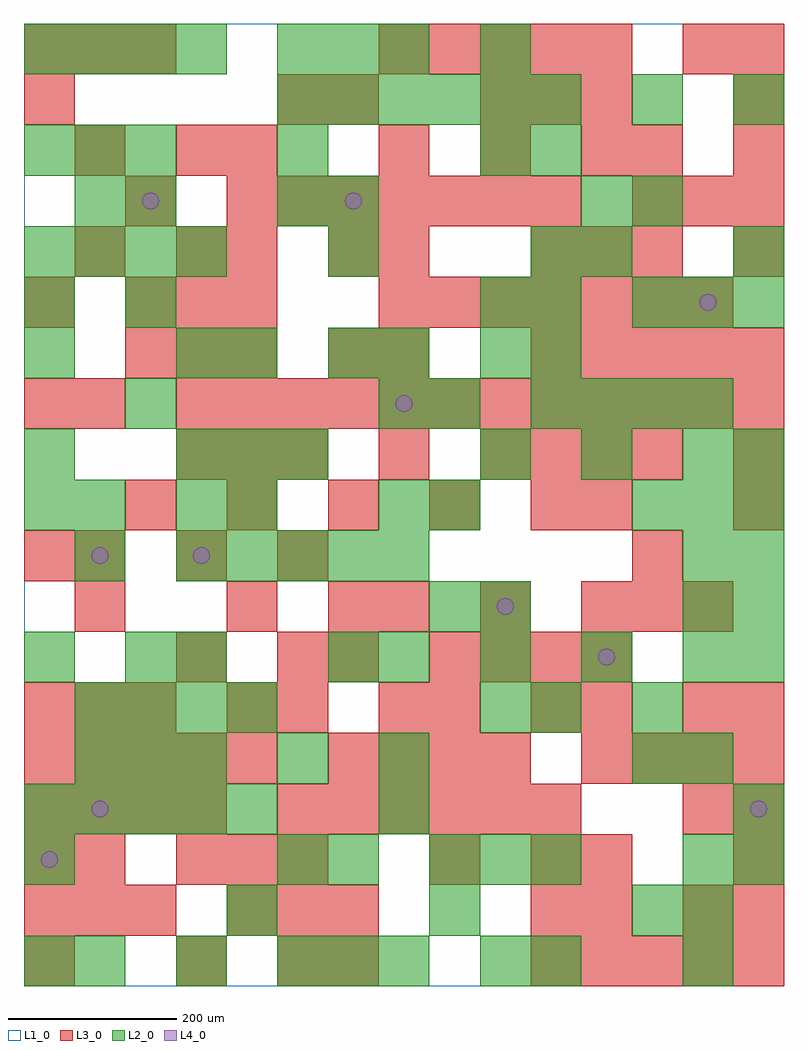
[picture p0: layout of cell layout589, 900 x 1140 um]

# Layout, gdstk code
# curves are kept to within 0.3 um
import gdstk
lib = gdstk.Library(unit=1e-6, precision=1e-09)
def R(c, l, rs):  # rectangles x0, y0, x1, y1
    for r in rs: c.add(gdstk.rectangle(r[:2], r[2:], *l))
def A(c, l, x, y, w, h, nx, ny, dx, dy):  # array of equal rectangles
    R(c, l, [(x+i*dx, y+j*dy, x+i*dx+w, y+j*dy+h) for i in range(nx) for j in range(ny)])
def P(c, l, *ps):  # polygons
    for p in ps: c.add(gdstk.Polygon(p, *l))
L1_0 = (1, 0)
L2_0 = (2, 0)
L3_0 = (3, 0)
L4_0 = (4, 0)

layout589 = lib.new_cell('layout589')
R(layout589, L1_0, [(0,0,900,1140)])
A(layout589, L2_0, 60, 0, 60, 60, 3, 1, 120, 0)
A(layout589, L2_0, 780, 0, 60, 60, 1, 3, 0, 60)
A(layout589, L2_0, 240, 60, 60, 60, 3, 1, 240, 0)
A(layout589, L2_0, 480, 120, 60, 60, 3, 1, 60, 0)
A(layout589, L2_0, 0, 180, 60, 60, 5, 1, 60, 0)
A(layout589, L2_0, 60, 240, 60, 60, 3, 1, 60, 0)
A(layout589, L2_0, 60, 300, 60, 60, 4, 1, 60, 0)
A(layout589, L2_0, 180, 360, 60, 60, 1, 3, 0, 180)
A(layout589, L2_0, 420, 360, 60, 60, 4, 1, 120, 0)
A(layout589, L2_0, 840, 360, 60, 60, 1, 3, 0, 60)
A(layout589, L2_0, 480, 420, 60, 60, 1, 3, 0, 120)
A(layout589, L2_0, 180, 480, 60, 60, 5, 1, 60, 0)
A(layout589, L2_0, 720, 540, 60, 60, 3, 2, 60, 240)
A(layout589, L2_0, 180, 600, 60, 60, 3, 1, 60, 0)
A(layout589, L2_0, 540, 600, 60, 60, 3, 1, 120, 0)
A(layout589, L2_0, 120, 660, 60, 60, 1, 3, 0, 120)
A(layout589, L2_0, 600, 660, 60, 60, 4, 1, 60, 0)
A(layout589, L2_0, 600, 720, 60, 60, 1, 3, 0, 60)
A(layout589, L2_0, 0, 840, 60, 60, 4, 2, 60, 240)
A(layout589, L2_0, 0, 960, 60, 60, 3, 1, 60, 0)
A(layout589, L2_0, 300, 1020, 60, 60, 6, 1, 60, 0)
A(layout589, L2_0, 300, 1080, 60, 60, 3, 1, 60, 0)
R(layout589, L2_0, [(0,0,60,60), (360,0,420,60), (420,0,480,60), (540,0,600,60), (600,0,660,60), (0,120,60,180), (300,120,360,180), (360,120,420,180), (840,120,900,180), (420,180,480,240), (840,180,900,240), (300,240,360,300), (420,240,480,300), (720,240,780,300), (780,240,840,300), (540,300,600,360), (600,300,660,360), (720,300,780,360), (0,360,60,420), (120,360,180,420), (360,360,420,420), (540,420,600,480), (780,420,840,480), (60,480,120,540), (780,480,840,540), (0,540,60,600), (60,540,120,600), (240,540,300,600), (420,540,480,600), (0,600,60,660), (840,600,900,660), (420,660,480,720), (0,720,60,780), (240,720,300,780), (360,720,420,780), (420,720,480,780), (540,720,600,780), (0,780,60,840), (540,780,600,840), (360,840,420,900), (660,840,720,900), (840,840,900,900), (60,900,120,960), (300,900,360,960), (360,900,420,960), (660,900,720,960), (720,900,780,960), (300,960,360,1020), (540,960,600,1020), (600,960,660,1020), (720,1020,780,1080), (840,1020,900,1080), (540,1080,600,1140)])
A(layout589, L3_0, 600, 0, 60, 60, 5, 2, 60, 720)
A(layout589, L3_0, 0, 60, 60, 60, 3, 2, 60, 240)
A(layout589, L3_0, 240, 60, 60, 60, 3, 1, 60, 0)
A(layout589, L3_0, 780, 60, 60, 60, 1, 4, 0, 120)
A(layout589, L3_0, 840, 60, 60, 60, 1, 3, 0, 60)
A(layout589, L3_0, 180, 120, 60, 60, 3, 2, 60, 480)
A(layout589, L3_0, 0, 180, 60, 60, 4, 1, 60, 0)
A(layout589, L3_0, 300, 180, 60, 60, 6, 1, 60, 0)
A(layout589, L3_0, 0, 240, 60, 60, 5, 1, 60, 0)
A(layout589, L3_0, 360, 240, 60, 60, 4, 1, 60, 0)
A(layout589, L3_0, 660, 240, 60, 60, 4, 1, 60, 0)
A(layout589, L3_0, 480, 360, 60, 60, 4, 1, 60, 0)
A(layout589, L3_0, 420, 420, 60, 60, 3, 2, 120, 540)
A(layout589, L3_0, 60, 480, 60, 60, 3, 1, 120, 0)
A(layout589, L3_0, 120, 540, 60, 60, 5, 1, 120, 0)
A(layout589, L3_0, 420, 600, 60, 60, 1, 3, 0, 120)
A(layout589, L3_0, 540, 600, 60, 60, 4, 1, 60, 0)
A(layout589, L3_0, 180, 660, 60, 60, 12, 1, 60, 0)
A(layout589, L3_0, 120, 720, 60, 60, 3, 2, 60, 60)
A(layout589, L3_0, 420, 780, 60, 60, 7, 1, 60, 0)
A(layout589, L3_0, 600, 840, 60, 60, 3, 1, 60, 0)
A(layout589, L3_0, 240, 900, 60, 60, 7, 1, 60, 0)
A(layout589, L3_0, 720, 900, 60, 60, 3, 1, 60, 0)
A(layout589, L3_0, 840, 960, 60, 60, 1, 3, 0, 60)
A(layout589, L3_0, 540, 1020, 60, 60, 3, 1, 60, 0)
A(layout589, L3_0, 0, 1080, 60, 60, 3, 1, 60, 0)
A(layout589, L3_0, 420, 1080, 60, 60, 5, 1, 60, 0)
R(layout589, L3_0, [(0,0,60,60), (180,0,240,60), (300,0,360,60), (360,0,420,60), (600,60,660,120), (660,60,720,120), (0,120,60,180), (60,120,120,180), (480,120,540,180), (600,120,660,180), (660,120,720,180), (240,300,300,360), (300,300,360,360), (420,300,480,360), (480,300,540,360), (600,300,660,360), (660,300,720,360), (840,300,900,360), (180,360,240,420), (300,360,360,420), (360,360,420,420), (60,420,120,480), (240,420,300,480), (360,420,420,480), (720,420,780,480), (0,480,60,540), (720,480,780,540), (660,540,720,600), (840,540,900,600), (840,600,900,660), (0,660,60,720), (60,660,120,720), (360,720,420,780), (0,780,60,840), (60,840,120,900), (180,840,240,900), (240,840,300,900), (360,840,420,900), (840,840,900,900), (120,900,180,960), (60,960,120,1020), (180,960,240,1020), (240,960,300,1020), (720,960,780,1020), (0,1020,60,1080), (300,1020,360,1080), (360,1020,420,1080), (780,1080,840,1140)])
P(layout589, L4_0, [(40,150),(39.239,153.827),(37.071,157.071),(33.827,159.239),(30,160),(26.173,159.239),(22.929,157.071),(20.761,153.827),(20,150),(20.761,146.173),(22.929,142.929),(26.173,140.761),(30,140),(33.827,140.761),(37.071,142.929),(39.239,146.173)],
  [(100,210),(99.239,213.827),(97.071,217.071),(93.827,219.239),(90,220),(86.173,219.239),(82.929,217.071),(80.761,213.827),(80,210),(80.761,206.173),(82.929,202.929),(86.173,200.761),(90,200),(93.827,200.761),(97.071,202.929),(99.239,206.173)],
  [(100,510),(99.239,513.827),(97.071,517.071),(93.827,519.239),(90,520),(86.173,519.239),(82.929,517.071),(80.761,513.827),(80,510),(80.761,506.173),(82.929,502.929),(86.173,500.761),(90,500),(93.827,500.761),(97.071,502.929),(99.239,506.173)],
  [(160,930),(159.239,933.827),(157.071,937.071),(153.827,939.239),(150,940),(146.173,939.239),(142.929,937.071),(140.761,933.827),(140,930),(140.761,926.173),(142.929,922.929),(146.173,920.761),(150,920),(153.827,920.761),(157.071,922.929),(159.239,926.173)],
  [(220,510),(219.239,513.827),(217.071,517.071),(213.827,519.239),(210,520),(206.173,519.239),(202.929,517.071),(200.761,513.827),(200,510),(200.761,506.173),(202.929,502.929),(206.173,500.761),(210,500),(213.827,500.761),(217.071,502.929),(219.239,506.173)],
  [(400,930),(399.239,933.827),(397.071,937.071),(393.827,939.239),(390,940),(386.173,939.239),(382.929,937.071),(380.761,933.827),(380,930),(380.761,926.173),(382.929,922.929),(386.173,920.761),(390,920),(393.827,920.761),(397.071,922.929),(399.239,926.173)],
  [(460,690),(459.239,693.827),(457.071,697.071),(453.827,699.239),(450,700),(446.173,699.239),(442.929,697.071),(440.761,693.827),(440,690),(440.761,686.173),(442.929,682.929),(446.173,680.761),(450,680),(453.827,680.761),(457.071,682.929),(459.239,686.173)],
  [(580,450),(579.239,453.827),(577.071,457.071),(573.827,459.239),(570,460),(566.173,459.239),(562.929,457.071),(560.761,453.827),(560,450),(560.761,446.173),(562.929,442.929),(566.173,440.761),(570,440),(573.827,440.761),(577.071,442.929),(579.239,446.173)],
  [(700,390),(699.239,393.827),(697.071,397.071),(693.827,399.239),(690,400),(686.173,399.239),(682.929,397.071),(680.761,393.827),(680,390),(680.761,386.173),(682.929,382.929),(686.173,380.761),(690,380),(693.827,380.761),(697.071,382.929),(699.239,386.173)],
  [(820,810),(819.239,813.827),(817.071,817.071),(813.827,819.239),(810,820),(806.173,819.239),(802.929,817.071),(800.761,813.827),(800,810),(800.761,806.173),(802.929,802.929),(806.173,800.761),(810,800),(813.827,800.761),(817.071,802.929),(819.239,806.173)],
  [(880,210),(879.239,213.827),(877.071,217.071),(873.827,219.239),(870,220),(866.173,219.239),(862.929,217.071),(860.761,213.827),(860,210),(860.761,206.173),(862.929,202.929),(866.173,200.761),(870,200),(873.827,200.761),(877.071,202.929),(879.239,206.173)])

lib.write_gds('layout589.gds')
